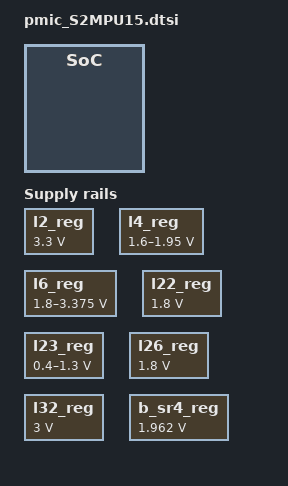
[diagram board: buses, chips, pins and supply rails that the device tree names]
#if 0 && 0
&l1_reg {
	regulator-name = "vdd_ldo1";
	regulator-min-microvolt = <0>;
	regulator-max-microvolt = <0>;
	 
	
};
#endif

#if 3300000 && 3300000
&l2_reg {
	regulator-name = "vdd_ldo2";
	regulator-min-microvolt = <3300000>;
	regulator-max-microvolt = <3300000>;
	 
	/delete-property/ regulator-always-on;/delete-property/ regulator-boot-on;
};
#endif

#if 0 && 0
&l3_reg {
	regulator-name = "vdd_ldo3";
	regulator-min-microvolt = <0>;
	regulator-max-microvolt = <0>;
	 
	
};
#endif

#if 1600000 && 1950000
&l4_reg {
	regulator-name = "vdd_ldo4";
	regulator-min-microvolt = <1600000>;
	regulator-max-microvolt = <1950000>;
	 
	/delete-property/ regulator-always-on;
};
#endif

#if 0 && 0
&l5_reg {
	regulator-name = "vdd_ldo5";
	regulator-min-microvolt = <0>;
	regulator-max-microvolt = <0>;
	 
	
};
#endif

#if 1800000 && 3375000
&l6_reg {
	regulator-name = "vdd_ldo6";
	regulator-min-microvolt = <1800000>;
	regulator-max-microvolt = <3375000>;
	 
	/delete-property/ regulator-always-on;
};
#endif

#if 0 && 0
&l7_reg {
	regulator-name = "vdd_ldo7";
	regulator-min-microvolt = <0>;
	regulator-max-microvolt = <0>;
	 
	
};
#endif

#if 0 && 0
&l8_reg {
	regulator-name = "vdd_ldo8";
	regulator-min-microvolt = <0>;
	regulator-max-microvolt = <0>;
	 
	
};
#endif

#if 0 && 0
&l9_reg {
	regulator-name = "vdd_ldo9";
	regulator-min-microvolt = <0>;
	regulator-max-microvolt = <0>;
	 
	
};
#endif

#if 0 && 0
&l10_reg {
	regulator-name = "vdd_ldo10";
	regulator-min-microvolt = <0>;
	regulator-max-microvolt = <0>;
	 
	
};
#endif

#if 0 && 0
&l11_reg {
	regulator-name = "vdd_ldo11";
	regulator-min-microvolt = <0>;
	regulator-max-microvolt = <0>;
	 
	
};
#endif

#if 0 && 0
&l12_reg {
	regulator-name = "vdd_ldo12";
	regulator-min-microvolt = <0>;
	regulator-max-microvolt = <0>;
	 
	
};
#endif

#if 0 && 0
&l13_reg {
	regulator-name = "vdd_ldo13";
	regulator-min-microvolt = <0>;
	regulator-max-microvolt = <0>;
	 
	
};
#endif

#if 0 && 0
&l14_reg {
	regulator-name = "vdd_ldo14";
	regulator-min-microvolt = <0>;
	regulator-max-microvolt = <0>;
	 
	
};
#endif

#if 0 && 0
&l15_reg {
	regulator-name = "vdd_ldo15";
	regulator-min-microvolt = <0>;
	regulator-max-microvolt = <0>;
	 
	
};
#endif

#if 0 && 0
&l16_reg {
	regulator-name = "vdd_ldo16";
	regulator-min-microvolt = <0>;
	regulator-max-microvolt = <0>;
	 
	
};
#endif

#if 0 && 0
&l17_reg {
	regulator-name = "vdd_ldo17";
	regulator-min-microvolt = <0>;
	regulator-max-microvolt = <0>;
	 
	
};
#endif

#if 0 && 0
&l18_reg {
	regulator-name = "vdd_ldo18";
	regulator-min-microvolt = <0>;
	regulator-max-microvolt = <0>;
	 
	
};
#endif

#if 0 && 0
&l19_reg {
	regulator-name = "vdd_ldo19";
	regulator-min-microvolt = <0>;
	regulator-max-microvolt = <0>;
	 
	
};
#endif

#if 0 && 0
&l20_reg {
	regulator-name = "vdd_ldo20";
	regulator-min-microvolt = <0>;
	regulator-max-microvolt = <0>;
	 
	
};
#endif

#if 0 && 0
&l21_reg {
	regulator-name = "vdd_ldo21";
	regulator-min-microvolt = <0>;
	regulator-max-microvolt = <0>;
	 
	
};
#endif

#if 1800000 && 1800000
&l22_reg {
	regulator-name = "vdd_ldo22";
	regulator-min-microvolt = <1800000>;
	regulator-max-microvolt = <1800000>;
	 
	regulator-boot-on;/delete-property/ regulator-always-on;
};
#endif

#if 400000 && 1300000
&l23_reg {
	regulator-name = "vdd_ldo23";
	regulator-min-microvolt = <400000>;
	regulator-max-microvolt = <1300000>;
	 
	/delete-property/ regulator-always-on;
};
#endif

#if 0 && 0
&l24_reg {
	regulator-name = "vdd_ldo24";
	regulator-min-microvolt = <0>;
	regulator-max-microvolt = <0>;
	 
	
};
#endif

#if 0 && 0
&l25_reg {
	regulator-name = "vdd_ldo25";
	regulator-min-microvolt = <0>;
	regulator-max-microvolt = <0>;
	 
	
};
#endif

#if 1800000 && 1800000
&l26_reg {
	regulator-name = "vdd_ldo26";
	regulator-min-microvolt = <1800000>;
	regulator-max-microvolt = <1800000>;
	 
	
};
#endif

#if 0 && 0
&l27_reg {
	regulator-name = "vdd_ldo27";
	regulator-min-microvolt = <0>;
	regulator-max-microvolt = <0>;
	 
	
};
#endif

#if 0 && 0
&l28_reg {
	regulator-name = "vdd_ldo28";
	regulator-min-microvolt = <0>;
	regulator-max-microvolt = <0>;
	 
	
};
#endif

#if 0 && 0
&l29_reg {
	regulator-name = "vdd_ldo29";
	regulator-min-microvolt = <0>;
	regulator-max-microvolt = <0>;
	 
	
};
#endif

#if 0 && 0
&l30_reg {
	regulator-name = "vdd_ldo30";
	regulator-min-microvolt = <0>;
	regulator-max-microvolt = <0>;
	 
	
};
#endif

#if 0 && 0
&l31_reg {
	regulator-name = "vdd_ldo31";
	regulator-min-microvolt = <0>;
	regulator-max-microvolt = <0>;
	 
	
};
#endif

#if 3000000 && 3000000
&l32_reg {
	regulator-name = "vdd_ldo32";
	regulator-min-microvolt = <3000000>;
	regulator-max-microvolt = <3000000>;
	 
	regulator-boot-on;/delete-property/ regulator-always-on;
};
#endif

#if 0 && 0
&l33_reg {
	regulator-name = "vdd_ldo33";
	regulator-min-microvolt = <0>;
	regulator-max-microvolt = <0>;
	 
	
};
#endif

#if 0 && 0
&l34_reg {
	regulator-name = "vdd_ldo34";
	regulator-min-microvolt = <0>;
	regulator-max-microvolt = <0>;
	 
	
};
#endif

#if 0 && 0
&l35_reg {
	regulator-name = "vdd_ldo35";
	regulator-min-microvolt = <0>;
	regulator-max-microvolt = <0>;
	 
	
};
#endif


/* /home/dpi/qb5_8814/workspace/P4_1716/kernel/kmodule/pmic/slsi/S2MPU15/dts/pmic_S2MPU15.a56x.dtsi */
&b_sr4_reg {
	regulator-min-microvolt = <1962500>;
	regulator-max-microvolt = <1962500>;
};

/delete-node/ &l19_reg;
